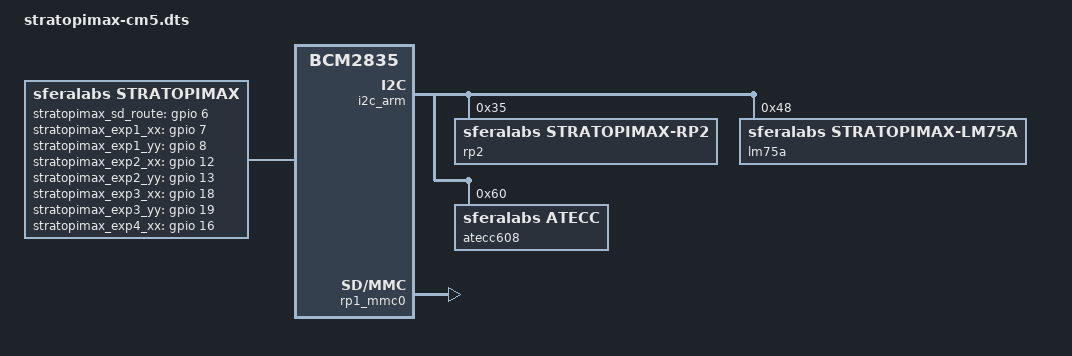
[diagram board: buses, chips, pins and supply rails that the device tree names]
/dts-v1/;
/plugin/;

/ {
    compatible = "brcm,bcm2835";

    fragment@0 {
        target-path = "/";
        __overlay__ {
            stratopimax: stratopimax {
                compatible = "sferalabs,stratopimax";
                pinctrl-names = "default";
                pinctrl-0 = <&stratopimax_pins>;
                status = "okay";
                
                stratopimax_sd_route-gpios = <&gpio 6 0>;
                stratopimax_exp1_xx-gpios = <&gpio 7 0>;
                stratopimax_exp1_yy-gpios = <&gpio 8 0>;
                stratopimax_exp2_xx-gpios = <&gpio 12 0>;
                stratopimax_exp2_yy-gpios = <&gpio 13 0>;
                stratopimax_exp3_xx-gpios = <&gpio 18 0>;
                stratopimax_exp3_yy-gpios = <&gpio 19 0>;
                stratopimax_exp4_xx-gpios = <&gpio 16 0>;
                stratopimax_exp4_yy-gpios = <&gpio 17 0>;
            };
        };
    };

    fragment@1 {
        target = <&gpio>;
        __overlay__ {
            stratopimax_pins: stratopimax_pins {
                brcm,pins = <6>;
                brcm,function = <0>; /* in */
                brcm,pull = <0>; /* no pull */
            };
        };
    };

    fragment@2 {
        target = <&i2c_arm>;
        __overlay__ {
            #address-cells = <1>;
            #size-cells = <0>;
            status = "okay";
            
            rp2: rp2@35 {
                compatible = "sferalabs,stratopimax-rp2";
                reg = <0x35>;
                status = "okay";
            };
            
            lm75a: lm75a@48 {
                compatible = "sferalabs,stratopimax-lm75a";
                reg = <0x48>;
                status = "okay";
            };
            
            atecc608: atecc608@60 {
                compatible = "sferalabs,atecc";
                reg = <0x60>;
                status = "okay";
            };
        };
    };

    fragment@3 {
        target = <&rp1_mmc0>;
        __overlay__ {
            status = "okay";
            pinctrl-0 = <&rp1_sdio0_22_27>;
            pinctrl-names = "default";
        };
    };

    fragment@4 {
        target = <&rp1_sdio_clk0>;
        __overlay__ {
            status = "okay";
        };
    };
};
